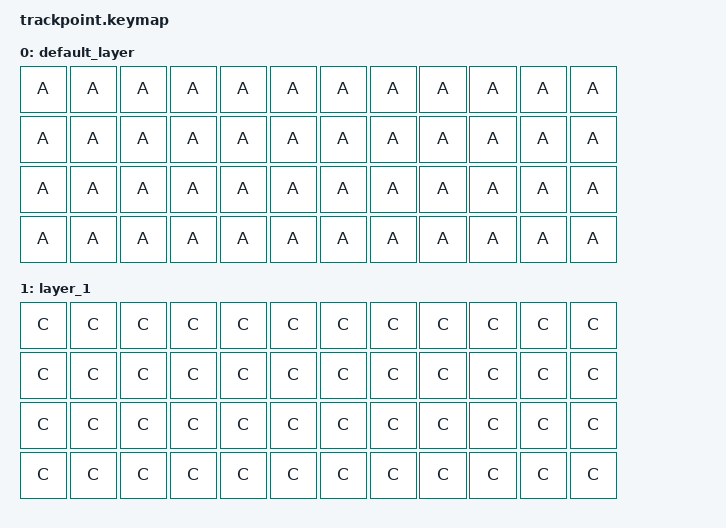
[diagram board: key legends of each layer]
#include <behaviors.dtsi>
#include <behaviors/mouse_keys.dtsi>
#include <dt-bindings/zmk/mouse.h>

/ {
    keymap {
        compatible = "zmk,keymap";

        default_layer {
            bindings = <
&kp A   &kp A   &kp A    &kp A  &kp A  &kp A   &kp A  &kp A  &kp A   &kp A  &kp A  &kp A
&kp A   &kp A   &kp A    &kp A  &kp A  &kp A   &kp A  &kp A  &kp A   &kp A  &kp A  &kp A
&kp A   &kp A   &kp A    &kp A  &kp A  &kp A   &kp A  &kp A  &kp A   &kp A  &kp A  &kp A
&kp A   &kp A   &kp A    &kp A  &kp A  &kp A   &kp A  &kp A  &kp A   &kp A  &kp A  &kp A
            >;
        };

        layer_1 {
            bindings = <
&kp C     &kp C     &kp C     &kp C &kp C &kp C  &kp C &kp C &kp C  &kp C &kp C &kp C
&kp C     &kp C     &kp C     &kp C &kp C &kp C  &kp C &kp C &kp C  &kp C &kp C &kp C
&kp C     &kp C     &kp C     &kp C &kp C &kp C  &kp C &kp C &kp C  &kp C &kp C &kp C
&kp C     &kp C     &kp C     &kp C &kp C &kp C  &kp C &kp C &kp C  &kp C &kp C &kp C
            >;
        };
    };
};
